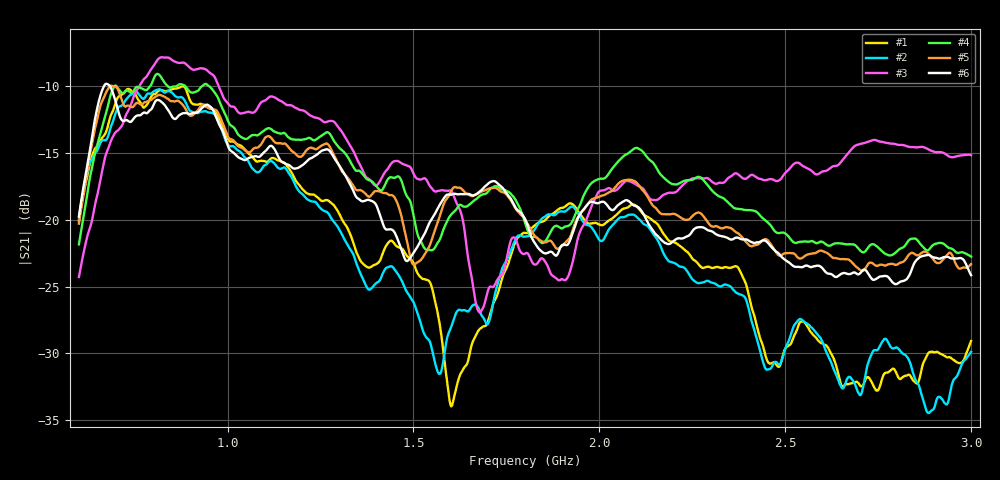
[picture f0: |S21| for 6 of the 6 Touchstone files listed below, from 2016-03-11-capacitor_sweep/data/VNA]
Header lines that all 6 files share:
#  HZ  S  RI  R  50.00
! Rohde & Schwarz ZVB8 2Ports - Version 2.81 - 1145.1010k08 SN: 100113
! Measurements: S11 S21 S12 S22
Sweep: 600 MHz to 3 GHz
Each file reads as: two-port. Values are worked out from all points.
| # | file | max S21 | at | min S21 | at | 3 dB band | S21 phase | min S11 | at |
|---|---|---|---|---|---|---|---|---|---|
| 1 | triag-2.7-pF.s2p | -9.99 dB | 878.7 MHz | -34.0 dB | 1.602 GHz | 679.3 MHz-984.4 MHz | 61 deg at 1.801 GHz | -10.5 dB | 705.7 MHz |
| 2 | triag-3.0-pF.s2p | -10.21 dB | 816.2 MHz | -34.5 dB | 2.885 GHz | 684.1 MHz-982 MHz | 59 deg at 1.801 GHz | -9.9 dB | 664.9 MHz |
| 3 | triag-side-0.7-pF.s2p | -7.82 dB | 823.4 MHz | -26.9 dB | 1.679 GHz | 748.9 MHz-986.8 MHz | 45 deg at 1.801 GHz | -9.2 dB | 1.138 GHz |
| 4 | triag-side-2.0-pF.s2p | -9.05 dB | 811.4 MHz | -22.8 dB | 3 GHz | 674.5 MHz-991.6 MHz | 7 deg at 1.801 GHz | -10.7 dB | 885.9 MHz |
| 5 | triag-side-2.7-pF.s2p | -9.94 dB | 686.5 MHz | -23.8 dB | 2.709 GHz | 645.6 MHz-989.2 MHz | -0 deg at 1.801 GHz | -10.8 dB | 782.6 MHz |
| 6 | triag-side-3.0-pF.s2p | -9.81 dB | 674.5 MHz | -24.8 dB | 2.796 GHz | 643.2 MHz-974.8 MHz | -8 deg at 1.801 GHz | -10.7 dB | 888.3 MHz |
